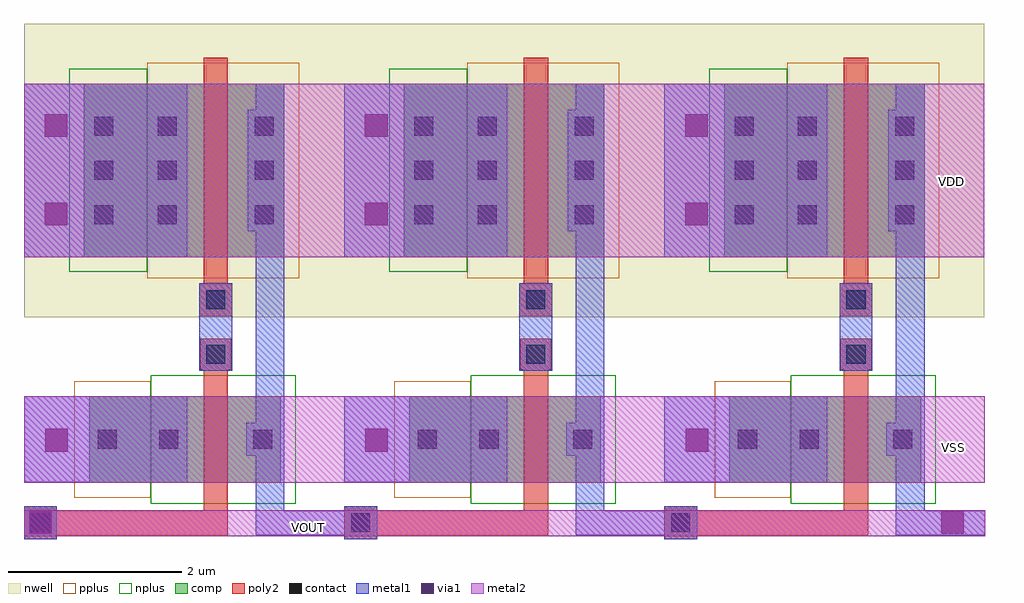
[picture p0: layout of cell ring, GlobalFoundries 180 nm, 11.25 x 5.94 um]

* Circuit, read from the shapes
.subckt ring VDD VOUT VSS
XM1 n1 VOUT VSS VSS nfet_03v3 w=1u l=0.28u
XM2 n2 n1 VSS VSS nfet_03v3 w=1u l=0.28u
XM3 VOUT n2 VSS VSS nfet_03v3 w=1u l=0.28u
XM4 n1 VOUT VDD VDD pfet_03v3 w=2u l=0.28u
XM5 n2 n1 VDD VDD pfet_03v3 w=2u l=0.28u
XM6 VOUT n2 VDD VDD pfet_03v3 w=2u l=0.28u
.ends

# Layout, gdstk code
from math import pi, radians
import gdstk
lib = gdstk.Library(unit=1e-6, precision=5e-09)
def R(c, l, rs):  # rectangles x0, y0, x1, y1
    for r in rs: c.add(gdstk.rectangle(r[:2], r[2:], *l))
def A(c, l, x, y, w, h, nx, ny, dx, dy):  # array of equal rectangles
    R(c, l, [(x+i*dx, y+j*dy, x+i*dx+w, y+j*dy+h) for i in range(nx) for j in range(ny)])
def P(c, l, *ps):  # polygons
    for p in ps: c.add(gdstk.Polygon(p, *l))
nwell = (21, 0)
comp = (22, 0)
poly2 = (30, 0)
pplus = (31, 0)
nplus = (32, 0)
contact = (33, 0)
metal1 = (34, 0)
via1 = (35, 0)
metal2 = (36, 0)

pfet_1 = lib.new_cell('pfet$1')
R(pfet_1, nwell, [(-1.15,-0.69,2.54,2.69)])
R(pfet_1, comp, [(-0.46,0,0,2), (0,0,0.66,2), (0.66,0,1.12,2), (1.12,0,1.85,2)])
R(pfet_1, poly2, [(0.14,-0.68,0.52,-0.3), (0.19,-0.3,0.47,2.3)])
R(pfet_1, pplus, [(-0.63,-0.24,1.12,2.24)])
R(pfet_1, nplus, [(1.12,-0.17,2.02,2.17)])
A(pfet_1, contact, -0.34, 0.38, 0.22, 0.22, 1, 3, 0, 0.51)
A(pfet_1, contact, 0.78, 0.38, 0.22, 0.22, 1, 3, 0, 0.51)
A(pfet_1, contact, 1.51, 0.38, 0.22, 0.22, 1, 3, 0, 0.51)
R(pfet_1, contact, [(0.22,-0.6,0.44,-0.38)])
R(pfet_1, metal1, [(0.14,-0.68,0.52,-0.3), (-0.42,0.3,-0.04,1.7), (0.7,0.3,1.08,1.7), (1.43,0.3,1.81,1.7)])

nfet = lib.new_cell('nfet')
R(nfet, comp, [(-0.42,0,0,1), (0,0,0.66,1), (0.66,0,1.08,1), (1.08,0,1.79,1)])
R(nfet, poly2, [(0.19,-0.3,0.47,1.3), (0.15,1.3,0.51,1.66)])
R(nfet, pplus, [(1.08,-0.17,1.96,1.17)])
R(nfet, nplus, [(-0.59,-0.24,1.08,1.24)])
R(nfet, contact, [(-0.32,0.39,-0.1,0.61), (0.76,0.39,0.98,0.61), (1.47,0.39,1.69,0.61), (0.22,1.37,0.44,1.59)])
R(nfet, metal1, [(-0.4,0.31,-0.02,0.69), (0.68,0.31,1.06,0.69), (1.39,0.31,1.77,0.69), (0.14,1.29,0.52,1.67)])

inv = lib.new_cell('inv')
R(inv, poly2, [(-1.515,0.505,-1.135,0.885), (0.555,0.71,0.835,0.9)])
R(inv, contact, [(-1.435,0.585,-1.215,0.805)])
P(inv, contact, [(2.355,4.65),(2.355,4.65),(2.355,4.65),(2.355,4.65)],
  [(1.815,4.255),(1.815,4.255),(1.815,4.255),(1.815,4.255)])
R(inv, metal1, [(-1.515,0.505,-1.135,0.885), (1.155,0.55,1.485,1.06), (1.485,0.55,2.185,0.83), (1.155,1.06,1.485,5.755), (-0.765,1.155,0.365,2.155), (-1.515,1.16,-0.765,2.155), (0.505,2.825,0.885,3.075), (-1.515,3.755,-0.825,5.755), (-0.825,3.755,0.365,5.755)])
R(inv, via1, [(-1.27,1.515,-1.01,1.775), (-1.275,4.125,-1.015,4.385), (-1.275,5.145,-1.015,5.405)])
R(inv, metal2, [(-1.515,1.155,2.18,2.155), (-1.515,3.755,2.175,5.755)])
inv.add(gdstk.FlexPath([(-1.495,0.69),(0.835,0.69)], 0.28, ends="flush", simple_path=True, layer=30, datatype=0))  # poly2
inv.add(gdstk.FlexPath([(0.695,1.36),(0.695,1.02),(0.695,1.02)], 0.28, ends="flush", simple_path=True, layer=30, datatype=0))  # poly2
inv.add(gdstk.Reference(pfet_1, (1.025,3.755), rotation=pi, x_reflection=True))
inv.add(gdstk.Reference(nfet, (1.025,1.155), rotation=pi, x_reflection=True))

ring = lib.new_cell('ring')
R(ring, via1, [(0.06,0.06,0.32,0.32), (10.575,0.06,10.835,0.32)])
ring.add(gdstk.FlexPath([(0,0.185),(11.08,0.185),(11.08,0.185)], 0.3, ends="flush", simple_path=True, layer=36, datatype=0))  # metal2
r = gdstk.Reference(inv, (1.515,-0.505)); r.repetition = gdstk.Repetition(3, 1, v1=(3.69,0), v2=(0,0)); ring.add(r)
ring.add(gdstk.Label('VDD', (10.695,4.12), layer=36, texttype=10))
ring.add(gdstk.Label('VOUT', (3.28,0.135), layer=36, texttype=10))
ring.add(gdstk.Label('VSS', (10.71,1.06), layer=36, texttype=10))

lib.write_gds('ring.gds')
